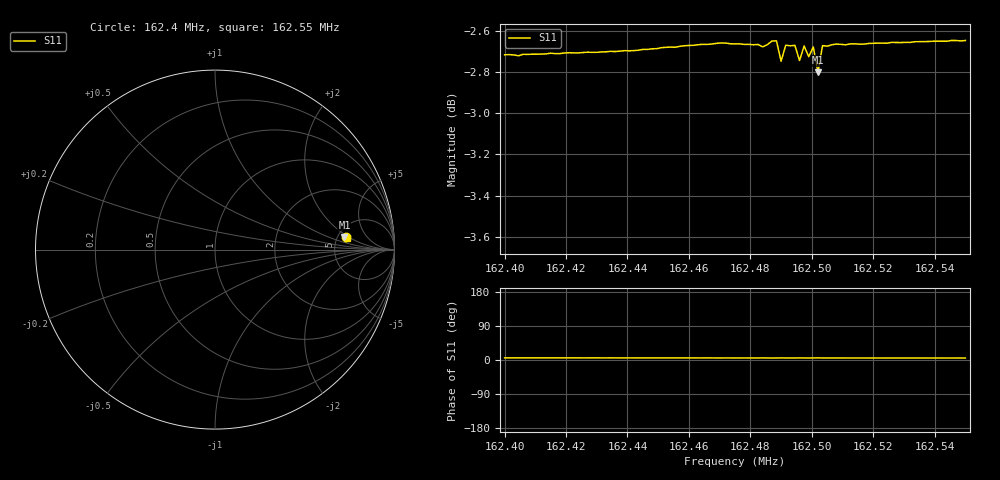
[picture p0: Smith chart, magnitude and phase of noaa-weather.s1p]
! Calibrated averaged scanner-service zoom
# Hz S RI R 50
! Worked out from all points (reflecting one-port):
!   101 points, 162.4 MHz to 162.55 MHz, reference 50 ohm
!   lowest |S11| = -2.8 dB at 162.502 MHz (marker M1), VSWR 6.26, Z = 287 + j85.4 ohm
!   phase of S11 starts at 6 deg and turns -0 deg over the sweep
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1.624e8  0.728 0.0719
1.624045e8  0.7275 0.072
1.62406e8  0.7282 0.0718
1.624195e8  0.7288 0.0714
1.624345e8  0.7294 0.0714
1.624375e8  0.7296 0.0709
1.624405e8  0.7297 0.0712
1.62457e8  0.7316 0.07
1.624705e8  0.7331 0.0694
1.62472e8  0.733 0.0698
1.62475e8  0.7327 0.0693
1.624825e8  0.7325 0.0691
1.62484e8  0.7314 0.0701
1.624855e8  0.7324 0.0691
1.62487e8  0.7341 0.067
1.624885e8  0.734 0.0687
1.6249e8  0.7255 0.0696
1.624915e8  0.7322 0.0692
1.624945e8  0.7322 0.0688
1.62496e8  0.7258 0.0694
1.624975e8  0.7319 0.069
1.62499e8  0.7277 0.0669
1.625005e8  0.7314 0.0694
1.62502e8  0.7209 0.0708
1.625035e8  0.7321 0.0689
1.625125e8  0.7328 0.068
1.62532e8  0.7335 0.0675
1.6255e8  0.7343 0.0672
